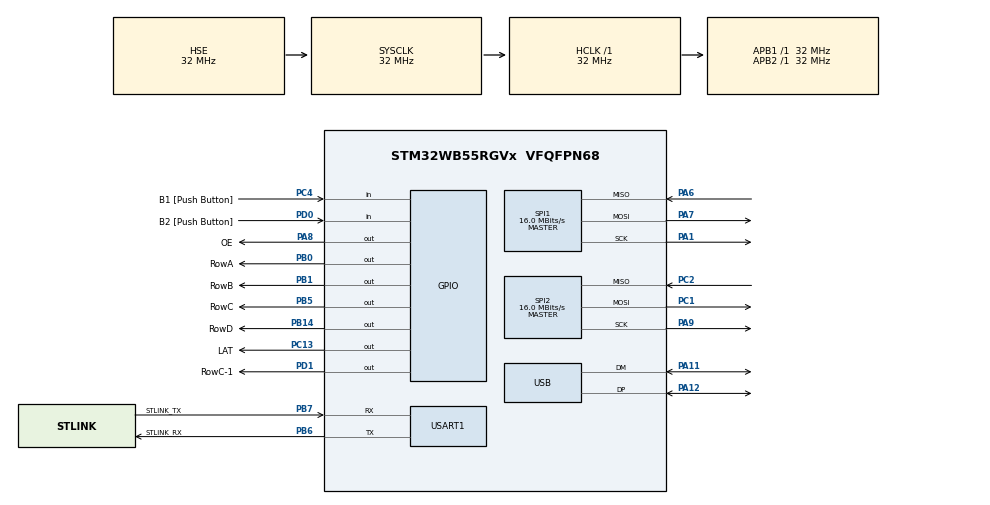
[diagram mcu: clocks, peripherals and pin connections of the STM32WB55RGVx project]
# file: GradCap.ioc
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Mcu.Family=STM32WB
PA6.Mode=Full_Duplex_Master
RCC.CortexFreq_Value=32000000
SPI1.VirtualType=VM_MASTER
SPI2.VirtualType=VM_MASTER
PB14.GPIO_Label=RowD
PA14.GPIO_Label=JTCK
PD0.GPIO_Label=B2 [Push Button]
PA11.Mode=Device
PB0.GPIO_Label=RowA
PB6.GPIO_Label=STLINK_RX
PC13.GPIO_Label=LAT
RCC.SYSCLKSource=RCC_SYSCLKSOURCE_HSE
ProjectManager.StackSize=0x400
Dma.MEMTOMEM.0.SyncSignalID=NONE
PA12.Signal=USB_DP
SPI1.Direction=SPI_DIRECTION_2LINES
PB1.GPIO_PuPd=GPIO_PULLUP
RCC.HCLKFreq_Value=32000000
RCC.APB2TimFreq_Value=32000000
PB6.Signal=USART1_TX
PB6.Mode=Asynchronous
SPI1.CalculateBaudRate=16.0 MBits/s
PD0.Signal=GPIO_Input
Dma.MEMTOMEM.0.EventEnable=DISABLE
OSC_OUT.Mode=HSE-External-Oscillator
OSC_OUT.Signal=RCC_OSC_OUT
Dma.MEMTOMEM.0.RequestNumber=1
RCC.AHBFreq_Value=32000000
RCC.HSE_VALUE=32000000
PD1.GPIO_Label=RowC-1
Dma.MEMTOMEM.0.Polarity=HAL_DMAMUX_REQ_GEN_RISING
PC14-OSC32_IN.Mode=LSE-External-Oscillator
PC4.GPIO_Label=B1 [Push Button]
PB1.GPIO_Speed=GPIO_SPEED_FREQ_HIGH
Dma.MEMTOMEM.0.Instance=DMA1_Channel1
PB1.GPIO_Label=RowB
SPI1.DataSize=SPI_DATASIZE_8BIT
PC13.GPIO_PuPd=GPIO_PULLUP
SPI2.CalculateBaudRate=16.0 MBits/s
Dma.MEMTOMEM.0.SyncEnable=DISABLE
PB7.Signal=USART1_RX
PA8.Signal=GPIO_Output
SPI1.FirstBit=SPI_FIRSTBIT_MSB
RCC.APB3Freq_Value=16000000
PB7.GPIO_Label=STLINK_TX
Mcu.Package=VFQFPN68
PB14.GPIO_PuPd=GPIO_PULLDOWN
PB1.Signal=GPIO_Output
PA6.Signal=SPI1_MISO
SPI2.Mode=SPI_MODE_MASTER
Dma.MEMTOMEM.0.PeriphInc=DMA_PINC_ENABLE
PB5.GPIO_Speed=GPIO_SPEED_FREQ_HIGH
PB5.GPIO_Label=RowC
RCC.APB1TimFreq_Value=32000000
SPI2.Direction=SPI_DIRECTION_2LINES
PA6.GPIO_Speed=GPIO_SPEED_FREQ_VERY_HIGH
Dma.Request0=MEMTOMEM
SPI1.BaudRatePrescaler=SPI_BAUDRATEPRESCALER_2
PC13.PinState=GPIO_PIN_RESET
RCC.HSI48_VALUE=48000000
PA8.PinState=GPIO_PIN_RESET
RCC.PLLSAI1N=24
PC15-OSC32_OUT.Mode=LSE-External-Oscillator
Dma.MEMTOMEM.0.MemDataAlignment=DMA_MDATAALIGN_BYTE
PA7.Mode=Full_Duplex_Master
Dma.MEMTOMEM.0.Priority=DMA_PRIORITY_LOW
Dma.MEMTOMEM.0.SyncRequestNumber=1
PC13.Signal=GPIO_Output
PC2.Signal=SPI2_MISO
PC4.Signal=GPIO_Input
PD1.Signal=GPIO_Output
PC2.Mode=Full_Duplex_Master
PD1.GPIO_PuPd=GPIO_PULLDOWN
PC14-OSC32_IN.Signal=RCC_OSC32_IN
PB0.GPIO_Speed=GPIO_SPEED_FREQ_HIGH
USART1.VirtualMode-Asynchronous=VM_ASYNC
PA13.Signal=SYS_JTMS-SWDIO
PA9.Mode=Full_Duplex_Master
PA8.GPIO_Label=OE
ProjectManager.TargetToolchain=STM32CubeIDE
PB14.GPIO_Speed=GPIO_SPEED_FREQ_LOW
PA9.Signal=SPI2_SCK
OSC_IN.Signal=RCC_OSC_IN
RCC.USBFreq_Value=48000000
PC15-OSC32_OUT.Signal=RCC_OSC32_OUT
PA1.Signal=SPI1_SCK
PB14.Signal=GPIO_Output
RCC.SMPSCLockSelectionVirtual=RCC_SMPSCLKSOURCE_HSI
board=P-NUCLEO-WB55-Nucleo
RCC.VCOOutputFreq_Value=128000000
PA7.GPIO_Speed=GPIO_SPEED_FREQ_VERY_HIGH
RCC.APB2Freq_Value=32000000
PA1.Mode=Full_Duplex_Master
SPI1.Mode=SPI_MODE_MASTER
PA1.GPIO_Speed=GPIO_SPEED_FREQ_VERY_HIGH
Dma.MEMTOMEM.0.SyncPolarity=HAL_DMAMUX_SYNC_NO_EVENT
RCC.ADCFreq_Value=48000000
Mcu.Name=STM32WB55RGVx
PA13.GPIO_Label=JTMS
Dma.MEMTOMEM.0.PeriphDataAlignment=DMA_PDATAALIGN_BYTE
RCC.SYSCLKFreq_VALUE=32000000
PB5.Signal=GPIO_Output
PA12.Mode=Device
Dma.MEMTOMEM.0.Mode=DMA_NORMAL
OSC_IN.Mode=HSE-External-Oscillator
Dma.MEMTOMEM.0.MemInc=DMA_MINC_ENABLE
PB5.GPIO_PuPd=GPIO_PULLUP
SPI2.FirstBit=SPI_FIRSTBIT_LSB
PB7.Mode=Asynchronous
PA11.Signal=USB_DM
PA14.Signal=SYS_JTCK-SWCLK
ProjectManager.HeapSize=0x200
RCC.HSI_VALUE=16000000
PA8.GPIO_PuPd=GPIO_PULLUP
NVIC.PriorityGroup=NVIC_PRIORITYGROUP_4
RCC.PLLN=32
Dma.MEMTOMEM.0.Direction=DMA_MEMORY_TO_MEMORY
SPI2.DataSize=SPI_DATASIZE_8BIT
RCC.APB1Freq_Value=32000000
PB0.Signal=GPIO_Output
PC1.Signal=SPI2_MOSI
PB0.GPIO_PuPd=GPIO_PULLUP
PC1.Mode=Full_Duplex_Master
Dma.MEMTOMEM.0.SignalID=NONE
PA7.Signal=SPI1_MOSI

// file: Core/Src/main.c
/* USER CODE BEGIN Header */
/**
  ******************************************************************************
  * @file           : main.c
  * @brief          : Main program body
  ******************************************************************************
  * @attention
  *
  * <h2><center>&copy; Copyright (c) 2021 STMicroelectronics.
  * All rights reserved.</center></h2>
  *
  * This software component is licensed by ST under BSD 3-Clause license,
  * the "License"; You may not use this file except in compliance with the
  * License. You may obtain a copy of the License at:
  *                        opensource.org/licenses/BSD-3-Clause
  *
  ******************************************************************************
  */
/* USER CODE END Header */

#include "main.h"

SPI_HandleTypeDef hspi1;
SPI_HandleTypeDef hspi2;

UART_HandleTypeDef huart1;

PCD_HandleTypeDef hpcd_USB_FS;

DMA_HandleTypeDef hdma_memtomem_dma1_channel1;
/* USER CODE BEGIN PV */
const uint8_t ZEROES = 0b00000000;
const uint8_t ONES = 0b11111111;

#include "image.h"

/* USER CODE END PV */

void SystemClock_Config(void);
static void MX_GPIO_Init(void);
static void MX_DMA_Init(void);
static void MX_SPI1_Init(void);
static void MX_USART1_UART_Init(void);
static void MX_USB_PCD_Init(void);
static void MX_SPI2_Init(void);

int main(void)
{

  /* MCU Configuration--------------------------------------------------------*/

  /* Reset of all peripherals, Initializes the Flash interface and the Systick. */
  HAL_Init();

  /* Configure the system clock */
  SystemClock_Config();

  /* Initialize all configured peripherals */
  MX_GPIO_Init();
  MX_DMA_Init();
  MX_SPI1_Init();
  MX_USART1_UART_Init();
  MX_USB_PCD_Init();
  MX_SPI2_Init();
  /* USER CODE BEGIN 2 */

  //OE high
  GPIOA -> ODR |= GPIO_PIN_8;

  int scan = 0;
  int count = 0;
  int frame = 0;

  int im =0;
  int rep = 0;
  /* USER CODE END 2 */

  /* Infinite loop */
  /* USER CODE BEGIN WHILE */
    while (1)
     {
    	// subframe finished, move onto next line
		if(count >=15){
			scan++;
			count = 0;
		}
		// last row, change frame and loop back
		if(scan>=16){
			scan = 0;
			frame ++;
		}
		// finished with animation, loop back
		if(frame>=framesN[im]*frameMod[im]){
			frame = 0;
			rep++;
		}
    	if(rep == repeat[im]){
			im++;
			rep=0;
		}
    	if(im==numImage){
    		im =0;
    	}

		// new row, set row selects
		if(count==0){
			if(scan & 0x1){
				GPIOB -> ODR  |= GPIO_PIN_0;
			}
			else{
				GPIOB -> ODR  &=~ GPIO_PIN_0;
			}
			if(scan & 0x2){
				GPIOB -> ODR  |= GPIO_PIN_1;
			}
			else{
				GPIOB -> ODR  &=~ GPIO_PIN_1;
			}

			if(scan & 0x4){
				GPIOD -> ODR  |= GPIO_PIN_1;
			}
			else{
				GPIOD -> ODR  &=~ GPIO_PIN_1;
			}
			if(scan & 0x8){
				GPIOB -> ODR  |= GPIO_PIN_14;
			}
			else{
				GPIOB -> ODR  &=~ GPIO_PIN_14;
			}
		}

		// OE high (LEDs off)
		GPIOA -> ODR |= GPIO_PIN_8;

		// latch low (load on)
		GPIOC -> ODR &= ~GPIO_PIN_13;

		// brightness modulation
		if(count>=7){
			HAL_SPI_Transmit(&hspi1, (uint8_t *)&(image[im][0+(frame/frameMod[im])*4][scan*4*3*2]), 24, 100);
		}
		else if(count>=3){
			HAL_SPI_Transmit(&hspi1, (uint8_t *)&(image[im][1+(frame/frameMod[im])*4][scan*4*3*2]), 24, 100);
		}
		else if(count>=1){
			HAL_SPI_Transmit(&hspi1, (uint8_t *)&(image[im][2+(frame/frameMod[im])*4][scan*4*3*2]), 24, 100);
		}
		else if(count>=0){
			HAL_SPI_Transmit(&hspi1, (uint8_t *)&(image[im][3+(frame/frameMod[im])*4][scan*4*3*2]), 24, 100);
		}

		// OE low (LEDs on)
		GPIOA -> ODR &= ~GPIO_PIN_8;

		// LAT high (load off)
		GPIOC -> ODR |= GPIO_PIN_13;

		// delay so leds are on for certain time
		for(int i = 0; i<40; i++){}

		// increase count
		count++;

    }
    /* USER CODE END WHILE */

}

void SystemClock_Config(void)
{
  RCC_OscInitTypeDef RCC_OscInitStruct = {0};
  RCC_ClkInitTypeDef RCC_ClkInitStruct = {0};
  RCC_PeriphCLKInitTypeDef PeriphClkInitStruct = {0};

  /** Macro to configure the PLL multiplication factor
  */
  __HAL_RCC_PLL_PLLM_CONFIG(RCC_PLLM_DIV1);
  /** Macro to configure the PLL clock source
  */
  __HAL_RCC_PLL_PLLSOURCE_CONFIG(RCC_PLLSOURCE_MSI);
  /** Configure LSE Drive Capability
  */
  __HAL_RCC_LSEDRIVE_CONFIG(RCC_LSEDRIVE_LOW);
  /** Configure the main internal regulator output voltage
  */
  __HAL_PWR_VOLTAGESCALING_CONFIG(PWR_REGULATOR_VOLTAGE_SCALE1);
  /** Initializes the CPU, AHB and APB busses clocks
  */
  RCC_OscInitStruct.OscillatorType = RCC_OSCILLATORTYPE_HSI|RCC_OSCILLATORTYPE_HSE
                              |RCC_OSCILLATORTYPE_LSE|RCC_OSCILLATORTYPE_MSI;
  RCC_OscInitStruct.HSEState = RCC_HSE_ON;
  RCC_OscInitStruct.LSEState = RCC_LSE_ON;
  RCC_OscInitStruct.HSIState = RCC_HSI_ON;
  RCC_OscInitStruct.MSIState = RCC_MSI_ON;
  RCC_OscInitStruct.HSICalibrationValue = RCC_HSICALIBRATION_DEFAULT;
  RCC_OscInitStruct.MSICalibrationValue = RCC_MSICALIBRATION_DEFAULT;
  RCC_OscInitStruct.MSIClockRange = RCC_MSIRANGE_6;
  RCC_OscInitStruct.PLL.PLLState = RCC_PLL_NONE;
  if (HAL_RCC_OscConfig(&RCC_OscInitStruct) != HAL_OK)
  {
    Error_Handler();
  }
  /** Configure the SYSCLKSource, HCLK, PCLK1 and PCLK2 clocks dividers
  */
  RCC_ClkInitStruct.ClockType = RCC_CLOCKTYPE_HCLK4|RCC_CLOCKTYPE_HCLK2
                              |RCC_CLOCKTYPE_HCLK|RCC_CLOCKTYPE_SYSCLK
                              |RCC_CLOCKTYPE_PCLK1|RCC_CLOCKTYPE_PCLK2;
  RCC_ClkInitStruct.SYSCLKSource = RCC_SYSCLKSOURCE_HSE;
  RCC_ClkInitStruct.AHBCLKDivider = RCC_SYSCLK_DIV1;
  RCC_ClkInitStruct.APB1CLKDivider = RCC_HCLK_DIV1;
  RCC_ClkInitStruct.APB2CLKDivider = RCC_HCLK_DIV1;
  RCC_ClkInitStruct.AHBCLK2Divider = RCC_SYSCLK_DIV1;
  RCC_ClkInitStruct.AHBCLK4Divider = RCC_SYSCLK_DIV1;

  if (HAL_RCC_ClockConfig(&RCC_ClkInitStruct, FLASH_LATENCY_1) != HAL_OK)
  {
    Error_Handler();
  }
  /** Initializes the peripherals clocks
  */
  PeriphClkInitStruct.PeriphClockSelection = RCC_PERIPHCLK_SMPS|RCC_PERIPHCLK_USART1
                              |RCC_PERIPHCLK_USB;
  PeriphClkInitStruct.PLLSAI1.PLLN = 24;
  PeriphClkInitStruct.PLLSAI1.PLLP = RCC_PLLP_DIV2;
  PeriphClkInitStruct.PLLSAI1.PLLQ = RCC_PLLQ_DIV2;
  PeriphClkInitStruct.PLLSAI1.PLLR = RCC_PLLR_DIV2;
  PeriphClkInitStruct.PLLSAI1.PLLSAI1ClockOut = RCC_PLLSAI1_USBCLK;
  PeriphClkInitStruct.Usart1ClockSelection = RCC_USART1CLKSOURCE_PCLK2;
  PeriphClkInitStruct.UsbClockSelection = RCC_USBCLKSOURCE_PLLSAI1;
  PeriphClkInitStruct.SmpsClockSelection = RCC_SMPSCLKSOURCE_HSI;
  PeriphClkInitStruct.SmpsDivSelection = RCC_SMPSCLKDIV_RANGE1;

  if (HAL_RCCEx_PeriphCLKConfig(&PeriphClkInitStruct) != HAL_OK)
  {
    Error_Handler();
  }
  /** Enable MSI Auto calibration
  */
  HAL_RCCEx_EnableMSIPLLMode();
}

static void MX_SPI1_Init(void)
{

  /* SPI1 parameter configuration*/
  hspi1.Instance = SPI1;
  hspi1.Init.Mode = SPI_MODE_MASTER;
  hspi1.Init.Direction = SPI_DIRECTION_2LINES;
  hspi1.Init.DataSize = SPI_DATASIZE_8BIT;
  hspi1.Init.CLKPolarity = SPI_POLARITY_LOW;
  hspi1.Init.CLKPhase = SPI_PHASE_1EDGE;
  hspi1.Init.NSS = SPI_NSS_SOFT;
  hspi1.Init.BaudRatePrescaler = SPI_BAUDRATEPRESCALER_2;
  hspi1.Init.FirstBit = SPI_FIRSTBIT_MSB;
  hspi1.Init.TIMode = SPI_TIMODE_DISABLE;
  hspi1.Init.CRCCalculation = SPI_CRCCALCULATION_DISABLE;
  hspi1.Init.CRCPolynomial = 7;
  hspi1.Init.CRCLength = SPI_CRC_LENGTH_DATASIZE;
  hspi1.Init.NSSPMode = SPI_NSS_PULSE_ENABLE;
  if (HAL_SPI_Init(&hspi1) != HAL_OK)
  {
    Error_Handler();
  }

}

static void MX_SPI2_Init(void)
{

  /* SPI2 parameter configuration*/
  hspi2.Instance = SPI2;
  hspi2.Init.Mode = SPI_MODE_MASTER;
  hspi2.Init.Direction = SPI_DIRECTION_2LINES;
  hspi2.Init.DataSize = SPI_DATASIZE_8BIT;
  hspi2.Init.CLKPolarity = SPI_POLARITY_LOW;
  hspi2.Init.CLKPhase = SPI_PHASE_1EDGE;
  hspi2.Init.NSS = SPI_NSS_SOFT;
  hspi2.Init.BaudRatePrescaler = SPI_BAUDRATEPRESCALER_2;
  hspi2.Init.FirstBit = SPI_FIRSTBIT_LSB;
  hspi2.Init.TIMode = SPI_TIMODE_DISABLE;
  hspi2.Init.CRCCalculation = SPI_CRCCALCULATION_DISABLE;
  hspi2.Init.CRCPolynomial = 7;
  hspi2.Init.CRCLength = SPI_CRC_LENGTH_DATASIZE;
  hspi2.Init.NSSPMode = SPI_NSS_PULSE_ENABLE;
  if (HAL_SPI_Init(&hspi2) != HAL_OK)
  {
    Error_Handler();
  }

}

static void MX_USART1_UART_Init(void)
{

  huart1.Instance = USART1;
  huart1.Init.BaudRate = 115200;
  huart1.Init.WordLength = UART_WORDLENGTH_8B;
  huart1.Init.StopBits = UART_STOPBITS_1;
  huart1.Init.Parity = UART_PARITY_NONE;
  huart1.Init.Mode = UART_MODE_TX_RX;
  huart1.Init.HwFlowCtl = UART_HWCONTROL_NONE;
  huart1.Init.OverSampling = UART_OVERSAMPLING_16;
  huart1.Init.OneBitSampling = UART_ONE_BIT_SAMPLE_DISABLE;
  huart1.Init.ClockPrescaler = UART_PRESCALER_DIV1;
  huart1.AdvancedInit.AdvFeatureInit = UART_ADVFEATURE_NO_INIT;
  if (HAL_UART_Init(&huart1) != HAL_OK)
  {
    Error_Handler();
  }
  if (HAL_UARTEx_SetTxFifoThreshold(&huart1, UART_TXFIFO_THRESHOLD_1_8) != HAL_OK)
  {
    Error_Handler();
  }
  if (HAL_UARTEx_SetRxFifoThreshold(&huart1, UART_RXFIFO_THRESHOLD_1_8) != HAL_OK)
  {
    Error_Handler();
  }
  if (HAL_UARTEx_DisableFifoMode(&huart1) != HAL_OK)
  {
    Error_Handler();
  }

}

static void MX_USB_PCD_Init(void)
{

  hpcd_USB_FS.Instance = USB;
  hpcd_USB_FS.Init.dev_endpoints = 8;
  hpcd_USB_FS.Init.speed = PCD_SPEED_FULL;
  hpcd_USB_FS.Init.phy_itface = PCD_PHY_EMBEDDED;
  hpcd_USB_FS.Init.Sof_enable = DISABLE;
  hpcd_USB_FS.Init.low_power_enable = DISABLE;
  hpcd_USB_FS.Init.lpm_enable = DISABLE;
  hpcd_USB_FS.Init.battery_charging_enable = DISABLE;
  if (HAL_PCD_Init(&hpcd_USB_FS) != HAL_OK)
  {
    Error_Handler();
  }

}

static void MX_DMA_Init(void)
{

  /* DMA controller clock enable */
  __HAL_RCC_DMAMUX1_CLK_ENABLE();
  __HAL_RCC_DMA1_CLK_ENABLE();

  /* Configure DMA request hdma_memtomem_dma1_channel1 on DMA1_Channel1 */
  hdma_memtomem_dma1_channel1.Instance = DMA1_Channel1;
  hdma_memtomem_dma1_channel1.Init.Request = DMA_REQUEST_MEM2MEM;
  hdma_memtomem_dma1_channel1.Init.Direction = DMA_MEMORY_TO_MEMORY;
  hdma_memtomem_dma1_channel1.Init.PeriphInc = DMA_PINC_ENABLE;
  hdma_memtomem_dma1_channel1.Init.MemInc = DMA_MINC_ENABLE;
  hdma_memtomem_dma1_channel1.Init.PeriphDataAlignment = DMA_PDATAALIGN_BYTE;
  hdma_memtomem_dma1_channel1.Init.MemDataAlignment = DMA_MDATAALIGN_BYTE;
  hdma_memtomem_dma1_channel1.Init.Mode = DMA_NORMAL;
  hdma_memtomem_dma1_channel1.Init.Priority = DMA_PRIORITY_LOW;
  if (HAL_DMA_Init(&hdma_memtomem_dma1_channel1) != HAL_OK)
  {
    Error_Handler( );
  }

}

static void MX_GPIO_Init(void)
{
  GPIO_InitTypeDef GPIO_InitStruct = {0};

  /* GPIO Ports Clock Enable */
  __HAL_RCC_GPIOC_CLK_ENABLE();
  __HAL_RCC_GPIOA_CLK_ENABLE();
  __HAL_RCC_GPIOB_CLK_ENABLE();
  __HAL_RCC_GPIOD_CLK_ENABLE();

  /*Configure GPIO pin Output Level */
  HAL_GPIO_WritePin(LAT_GPIO_Port, LAT_Pin, GPIO_PIN_RESET);

  /*Configure GPIO pin Output Level */
  HAL_GPIO_WritePin(OE_GPIO_Port, OE_Pin, GPIO_PIN_RESET);

  /*Configure GPIO pin Output Level */
  HAL_GPIO_WritePin(GPIOB, RowA_Pin|RowB_Pin|RowD_Pin|RowC_Pin, GPIO_PIN_RESET);

  /*Configure GPIO pin Output Level */
  HAL_GPIO_WritePin(RowC_1_GPIO_Port, RowC_1_Pin, GPIO_PIN_RESET);

  /*Configure GPIO pin : LAT_Pin */
  GPIO_InitStruct.Pin = LAT_Pin;
  GPIO_InitStruct.Mode = GPIO_MODE_OUTPUT_PP;
  GPIO_InitStruct.Pull = GPIO_PULLUP;
  GPIO_InitStruct.Speed = GPIO_SPEED_FREQ_LOW;
  HAL_GPIO_Init(LAT_GPIO_Port, &GPIO_InitStruct);

  /*Configure GPIO pin : OE_Pin */
  GPIO_InitStruct.Pin = OE_Pin;
  GPIO_InitStruct.Mode = GPIO_MODE_OUTPUT_PP;
  GPIO_InitStruct.Pull = GPIO_PULLUP;
  GPIO_InitStruct.Speed = GPIO_SPEED_FREQ_LOW;
  HAL_GPIO_Init(OE_GPIO_Port, &GPIO_InitStruct);

  /*Configure GPIO pin : B1_Pin */
  GPIO_InitStruct.Pin = B1_Pin;
  GPIO_InitStruct.Mode = GPIO_MODE_INPUT;
  GPIO_InitStruct.Pull = GPIO_NOPULL;
  HAL_GPIO_Init(B1_GPIO_Port, &GPIO_InitStruct);

  /*Configure GPIO pins : RowA_Pin RowB_Pin RowC_Pin */
  GPIO_InitStruct.Pin = RowA_Pin|RowB_Pin|RowC_Pin;
  GPIO_InitStruct.Mode = GPIO_MODE_OUTPUT_PP;
  GPIO_InitStruct.Pull = GPIO_PULLUP;
  GPIO_InitStruct.Speed = GPIO_SPEED_FREQ_HIGH;
  HAL_GPIO_Init(GPIOB, &GPIO_InitStruct);

  /*Configure GPIO pin : RowD_Pin */
  GPIO_InitStruct.Pin = RowD_Pin;
  GPIO_InitStruct.Mode = GPIO_MODE_OUTPUT_PP;
  GPIO_InitStruct.Pull = GPIO_PULLDOWN;
  GPIO_InitStruct.Speed = GPIO_SPEED_FREQ_LOW;
  HAL_GPIO_Init(RowD_GPIO_Port, &GPIO_InitStruct);

  /*Configure GPIO pin : B2_Pin */
  GPIO_InitStruct.Pin = B2_Pin;
  GPIO_InitStruct.Mode = GPIO_MODE_INPUT;
  GPIO_InitStruct.Pull = GPIO_NOPULL;
  HAL_GPIO_Init(B2_GPIO_Port, &GPIO_InitStruct);

  /*Configure GPIO pin : RowC_1_Pin */
  GPIO_InitStruct.Pin = RowC_1_Pin;
  GPIO_InitStruct.Mode = GPIO_MODE_OUTPUT_PP;
  GPIO_InitStruct.Pull = GPIO_PULLDOWN;
  GPIO_InitStruct.Speed = GPIO_SPEED_FREQ_LOW;
  HAL_GPIO_Init(RowC_1_GPIO_Port, &GPIO_InitStruct);

}

void Error_Handler(void)
{
}

/************************ (C) COPYRIGHT STMicroelectronics *****END OF FILE****/
